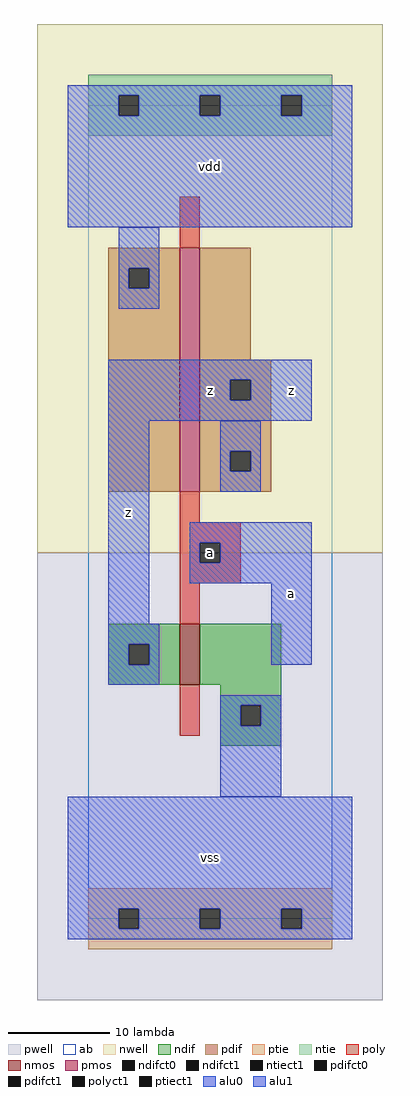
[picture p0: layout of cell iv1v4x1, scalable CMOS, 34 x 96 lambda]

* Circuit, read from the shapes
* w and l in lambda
.subckt iv1v4x1 a vdd vss z
M1 vss a z vss nfet w=6 l=2
M2 z a vdd vdd pfet w=24 l=2
.ends

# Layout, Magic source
magic
tech scmos
<< ab >>
rect 0 0 24 80
<< nwell >>
rect -5 36 29 88
<< pwell >>
rect -5 -8 29 36
<< poly >>
rect 9 66 11 71
rect 9 39 11 42
rect 9 37 15 39
rect 9 35 11 37
rect 13 35 15 37
rect 9 33 15 35
rect 9 29 11 33
rect 9 18 11 23
<< ndif >>
rect 2 27 9 29
rect 2 25 4 27
rect 6 25 9 27
rect 2 23 9 25
rect 11 23 19 29
rect 13 21 19 23
rect 13 19 15 21
rect 17 19 19 21
rect 13 17 19 19
<< pdif >>
rect 2 64 9 66
rect 2 62 4 64
rect 6 62 9 64
rect 2 42 9 62
rect 11 55 16 66
rect 11 53 18 55
rect 11 51 14 53
rect 16 51 18 53
rect 11 46 18 51
rect 11 44 14 46
rect 16 44 18 46
rect 11 42 18 44
<< alu1 >>
rect -2 81 26 82
rect -2 79 3 81
rect 5 79 11 81
rect 13 79 19 81
rect 21 79 26 81
rect -2 68 26 79
rect 2 53 22 55
rect 2 51 14 53
rect 16 51 22 53
rect 2 49 22 51
rect 2 29 6 49
rect 10 37 22 39
rect 10 35 11 37
rect 13 35 22 37
rect 10 33 22 35
rect 2 27 7 29
rect 2 25 4 27
rect 6 25 7 27
rect 18 25 22 33
rect 2 23 7 25
rect -2 1 26 12
rect -2 -1 3 1
rect 5 -1 11 1
rect 13 -1 19 1
rect 21 -1 26 1
rect -2 -2 26 -1
<< ptie >>
rect 0 1 24 3
rect 0 -1 3 1
rect 5 -1 11 1
rect 13 -1 19 1
rect 21 -1 24 1
rect 0 -3 24 -1
<< ntie >>
rect 0 81 24 83
rect 0 79 3 81
rect 5 79 11 81
rect 13 79 19 81
rect 21 79 24 81
rect 0 77 24 79
<< nmos >>
rect 9 23 11 29
<< pmos >>
rect 9 42 11 66
<< polyct1 >>
rect 11 35 13 37
<< ndifct0 >>
rect 15 19 17 21
<< ndifct1 >>
rect 4 25 6 27
<< ntiect1 >>
rect 3 79 5 81
rect 11 79 13 81
rect 19 79 21 81
<< ptiect1 >>
rect 3 -1 5 1
rect 11 -1 13 1
rect 19 -1 21 1
<< pdifct0 >>
rect 4 62 6 64
rect 14 44 16 46
<< pdifct1 >>
rect 14 51 16 53
<< alu0 >>
rect 3 64 7 68
rect 3 62 4 64
rect 6 62 7 64
rect 3 60 7 62
rect 13 46 17 49
rect 13 44 14 46
rect 16 44 17 46
rect 13 42 17 44
rect 13 21 19 22
rect 13 19 15 21
rect 17 19 19 21
rect 13 12 19 19
<< labels >>
rlabel alu1 4 40 4 40 6 z
rlabel alu1 12 6 12 6 6 vss
rlabel polyct1 12 36 12 36 6 a
rlabel alu1 12 52 12 52 6 z
rlabel alu1 12 74 12 74 6 vdd
rlabel alu1 20 32 20 32 6 a
rlabel alu1 20 52 20 52 6 z
<< end >>
